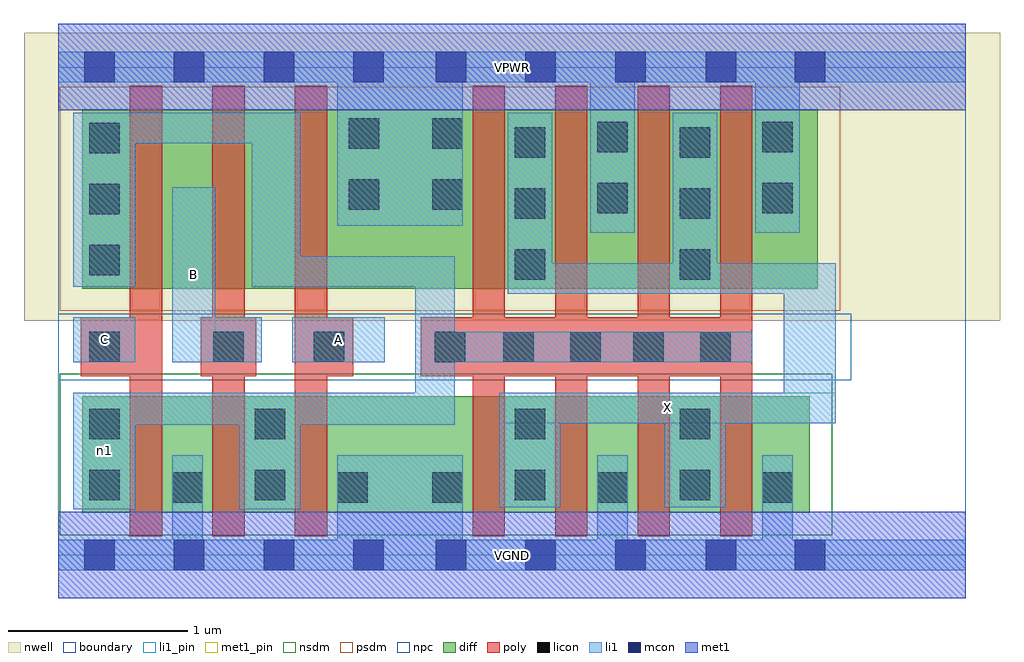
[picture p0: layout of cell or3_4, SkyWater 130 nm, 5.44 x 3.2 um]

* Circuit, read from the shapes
.subckt or3_4 A B C VGND VPWR X n1
XM1 VGND C n1 VSUBS sky130_fd_pr__nfet_01v8 w=0.65 l=0.18
XM2 n1 B VGND VSUBS sky130_fd_pr__nfet_01v8 w=0.65 l=0.18
XM3 VGND A n1 VSUBS sky130_fd_pr__nfet_01v8 w=0.65 l=0.18
XM4 X n1 VGND VSUBS sky130_fd_pr__nfet_01v8 w=0.65 l=0.18 m=4
XM5 n2 C n1 n3 sky130_fd_pr__pfet_01v8 w=1 l=0.18
XM6 n4 B n2 n3 sky130_fd_pr__pfet_01v8 w=1 l=0.18
XM7 VPWR A n4 n3 sky130_fd_pr__pfet_01v8 w=1 l=0.18
XM8 X n1 VPWR n3 sky130_fd_pr__pfet_01v8 w=1 l=0.18 m=4
.ends

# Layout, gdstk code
import gdstk
lib = gdstk.Library(unit=1e-6, precision=1e-09)
def R(c, l, rs):  # rectangles x0, y0, x1, y1
    for r in rs: c.add(gdstk.rectangle(r[:2], r[2:], *l))
def A(c, l, x, y, w, h, nx, ny, dx, dy):  # array of equal rectangles
    R(c, l, [(x+i*dx, y+j*dy, x+i*dx+w, y+j*dy+h) for i in range(nx) for j in range(ny)])
nwell = (64, 20)
diff = (65, 20)
poly = (66, 20)
licon = (66, 44)
li1_pin = (67, 16)
li1 = (67, 20)
mcon = (67, 44)
met1_pin = (68, 16)
met1 = (68, 20)
nsdm = (93, 44)
psdm = (94, 20)
npc = (95, 20)
boundary = (235, 4)

or3_4 = lib.new_cell('or3_4')
R(or3_4, nwell, [(-0.19,1.305,5.25,2.91), (0,1.305,5.06,2.91)])
R(or3_4, diff, [(0.135,0.235,4.19,0.885), (0.135,1.485,4.235,2.485)])
A(or3_4, poly, 0.4, 0.105, 0.18, 2.51, 3, 1, 0.46, 0)
A(or3_4, poly, 2.31, 0.105, 0.18, 2.51, 4, 1, 0.46, 0)
R(or3_4, poly, [(0.125,0.995,0.58,1.325), (0.795,0.995,1.105,1.325), (1.32,0.995,1.645,1.325), (2.02,0.995,3.87,1.325)])
A(or3_4, licon, 2.085, 0.29, 0.17, 0.17, 3, 1, 0.92, 0)
A(or3_4, licon, 2.545, 1.535, 0.17, 0.17, 1, 3, 0, 0.34)
A(or3_4, licon, 3.465, 1.535, 0.17, 0.17, 1, 3, 0, 0.34)
A(or3_4, licon, 0.175, 1.56, 0.17, 0.17, 1, 3, 0, 0.34)
R(or3_4, licon, [(0.635,0.29,0.805,0.46), (1.555,0.29,1.725,0.46), (0.175,0.305,0.345,0.475), (1.095,0.305,1.265,0.475), (2.545,0.305,2.715,0.475), (3.465,0.305,3.635,0.475), (0.175,0.645,0.345,0.815), (1.095,0.645,1.265,0.815), (2.545,0.645,2.715,0.815), (3.465,0.645,3.635,0.815), (0.175,1.075,0.345,1.245), (0.865,1.075,1.035,1.245), (1.425,1.075,1.595,1.245), (2.1,1.075,2.27,1.245), (2.48,1.075,2.65,1.245), (2.855,1.075,3.025,1.245), (3.205,1.075,3.375,1.245), (3.58,1.075,3.75,1.245), (3.005,1.905,3.175,2.075), (3.925,1.905,4.095,2.075), (1.62,1.925,1.79,2.095), (2.085,1.925,2.255,2.095), (3.005,2.245,3.175,2.415), (3.925,2.245,4.095,2.415), (1.62,2.265,1.79,2.435), (2.085,2.265,2.255,2.435)])
R(or3_4, li1_pin, [(2.46,0.735,4.335,0.905), (0.085,1.075,0.43,1.325), (0.635,1.075,0.875,2.05), (1.305,1.075,1.82,1.325)])
R(or3_4, li1, [(0,-0.085,5.06,0.085), (0.635,-0.085,0.805,0.555), (1.555,-0.085,2.255,0.555), (3.005,-0.085,3.175,0.555), (3.925,-0.085,4.095,0.555), (0.085,0.255,0.43,0.905), (1.01,0.255,1.35,0.905), (2.46,0.265,2.8,0.905), (3.38,0.265,3.72,0.905), (0.085,0.725,2.21,0.905), (1.99,0.725,2.21,1.665), (2.46,0.735,4.335,0.905), (4.045,0.735,4.335,1.625), (0.085,1.075,0.43,1.325), (0.635,1.075,0.875,2.05), (0.635,1.075,1.135,1.325), (1.305,1.075,1.82,1.325), (1.99,1.075,3.87,1.245), (2.505,1.455,4.335,1.625), (2.505,1.455,2.755,2.465), (3.425,1.455,3.675,2.465), (0.085,1.495,0.43,2.465), (1.08,1.495,1.35,2.465), (1.08,1.495,2.21,1.665), (2.965,1.795,3.215,2.805), (3.885,1.795,4.135,2.805), (1.555,1.835,2.255,2.805), (0.085,2.295,1.35,2.465), (0,2.635,5.06,2.805)])
A(or3_4, mcon, 0.145, -0.085, 0.17, 0.17, 4, 2, 0.5, 2.72)
A(or3_4, mcon, 2.105, -0.085, 0.17, 0.17, 3, 2, 0.5, 2.72)
R(or3_4, mcon, [(3.61,-0.085,3.78,0.085), (4.105,-0.085,4.275,0.085), (3.61,2.635,3.78,2.805), (4.105,2.635,4.275,2.805)])
R(or3_4, met1_pin, [(0,-0.24,5.06,0.24), (0,2.48,5.06,2.96)])
R(or3_4, met1, [(0,-0.24,5.06,0.24), (0,2.48,5.06,2.96)])
R(or3_4, nsdm, [(0.01,0.11,4.315,1.01)])
R(or3_4, psdm, [(0.01,1.36,4.36,2.61)])
R(or3_4, npc, [(0,0.975,4.42,1.345)])
R(or3_4, boundary, [(0,0,5.06,2.72)])
or3_4.add(gdstk.Label('A', (1.562,1.2), layer=67, texttype=5))
or3_4.add(gdstk.Label('B', (0.755,1.562), layer=67, texttype=5))
or3_4.add(gdstk.Label('C', (0.257,1.2), layer=67, texttype=5))
or3_4.add(gdstk.Label('X', (3.397,0.82), layer=67, texttype=5))
or3_4.add(gdstk.Label('n1', (0.257,0.58), layer=67, texttype=5))
or3_4.add(gdstk.Label('VPWR', (2.53,2.72), layer=68, texttype=5))
or3_4.add(gdstk.Label('VGND', (2.53,0), layer=68, texttype=5))
or3_4.add(gdstk.Label('A', (1.562,1.2), layer=67, texttype=16))
or3_4.add(gdstk.Label('B', (0.755,1.562), layer=67, texttype=16))
or3_4.add(gdstk.Label('C', (0.257,1.2), layer=67, texttype=16))
or3_4.add(gdstk.Label('X', (3.397,0.82), layer=67, texttype=16))
or3_4.add(gdstk.Label('VPWR', (2.53,2.72), layer=68, texttype=16))
or3_4.add(gdstk.Label('VGND', (2.53,0), layer=68, texttype=16))

lib.write_gds('or3_4.gds')
